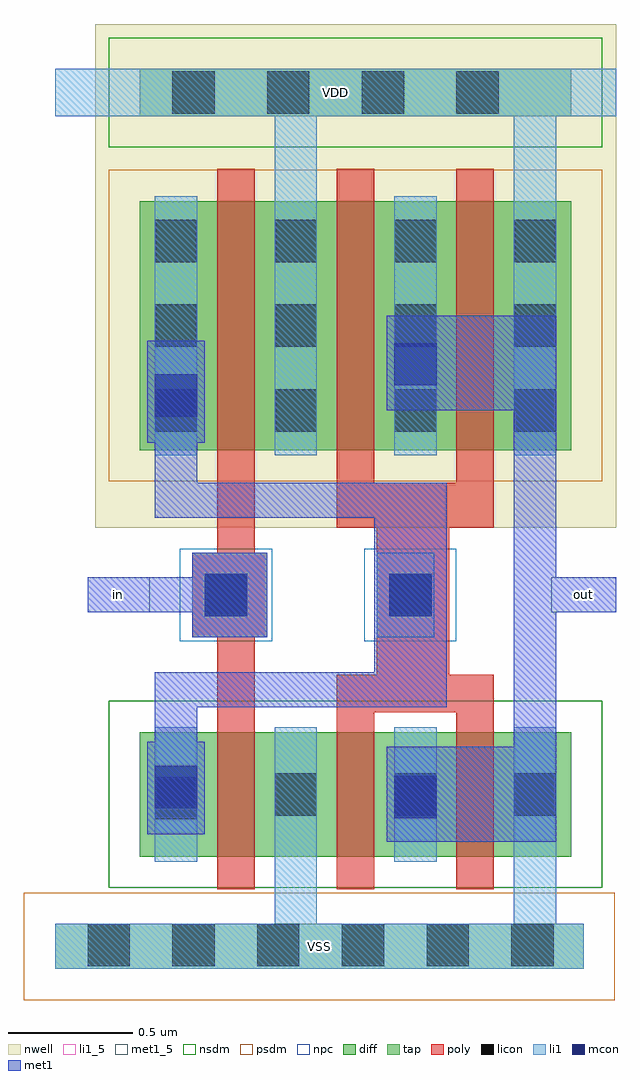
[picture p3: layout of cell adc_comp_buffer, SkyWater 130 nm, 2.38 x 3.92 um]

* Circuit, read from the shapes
.subckt adc_comp_buffer VDD VSS in out
XM1 VSS in n1 VSS sky130_fd_pr__nfet_01v8 w=0.5 l=0.15
XM2 out n1 VSS VSS sky130_fd_pr__nfet_01v8 w=0.5 l=0.15 m=2
XM3 VDD in n1 VDD sky130_fd_pr__pfet_01v8 w=1 l=0.15
XM4 out n1 VDD VDD sky130_fd_pr__pfet_01v8 w=1 l=0.15 m=2
.ends

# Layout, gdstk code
import gdstk
lib = gdstk.Library(unit=1e-6, precision=1e-09)
def R(c, l, rs):  # rectangles x0, y0, x1, y1
    for r in rs: c.add(gdstk.rectangle(r[:2], r[2:], *l))
def A(c, l, x, y, w, h, nx, ny, dx, dy):  # array of equal rectangles
    R(c, l, [(x+i*dx, y+j*dy, x+i*dx+w, y+j*dy+h) for i in range(nx) for j in range(ny)])
nwell = (64, 20)
diff = (65, 20)
tap = (65, 44)
poly = (66, 20)
licon = (66, 44)
li1_5 = (67, 5)
li1 = (67, 20)
mcon = (67, 44)
met1_5 = (68, 5)
met1 = (68, 20)
nsdm = (93, 44)
psdm = (94, 20)
npc = (95, 20)

adc_comp_buffer = lib.new_cell('adc_comp_buffer')
R(adc_comp_buffer, nwell, [(-0.05,0.24,2.04,2.26)])
R(adc_comp_buffer, diff, [(0.13,-1.08,1.86,-0.58), (0.13,0.55,1.86,1.55)])
R(adc_comp_buffer, tap, [(-0.21,-1.53,1.91,-1.35), (0.13,1.89,1.86,2.08)])
R(adc_comp_buffer, poly, [(0.44,-1.21,0.59,-0.2), (0.92,-1.21,1.07,-0.5), (1.4,-1.21,1.55,-0.5), (0.92,-0.5,1.55,-0.35), (1.08,-0.35,1.37,0.24), (0.34,-0.2,0.64,0.14), (0.44,0.14,0.59,1.68), (0.92,0.24,1.55,0.42), (0.92,0.42,1.07,1.68), (1.4,0.42,1.55,1.68)])
A(adc_comp_buffer, licon, -0.08, -1.52, 0.17, 0.17, 6, 1, 0.34, 0)
A(adc_comp_buffer, licon, 0.67, -0.915, 0.17, 0.17, 3, 1, 0.48, 0)
A(adc_comp_buffer, licon, 0.19, 0.625, 0.17, 0.17, 4, 3, 0.48, 0.34)
A(adc_comp_buffer, licon, 0.26, 1.9, 0.17, 0.17, 4, 1, 0.38, 0)
R(adc_comp_buffer, licon, [(0.19,-0.93,0.36,-0.76), (0.39,-0.115,0.56,0.055), (1.13,-0.115,1.3,0.055)])
R(adc_comp_buffer, li1_5, [(-0.21,-1.53,1.91,-1.35), (-0.21,1.89,2.04,2.08)])
R(adc_comp_buffer, li1, [(-0.21,-1.53,1.91,-1.35), (0.67,-1.35,0.84,-0.56), (1.63,-1.35,1.8,-0.56), (0.19,-1.1,0.36,-0.56), (1.15,-1.1,1.32,-0.56), (0.34,-0.2,0.64,0.14), (1.08,-0.2,1.31,0.14), (0.19,0.53,0.36,1.57), (0.67,0.53,0.84,1.89), (1.15,0.53,1.32,1.57), (1.63,0.53,1.8,1.89), (-0.21,1.89,2.04,2.08)])
R(adc_comp_buffer, mcon, [(1.15,-0.925,1.32,-0.755), (0.19,-0.885,0.36,-0.715), (0.39,-0.115,0.56,0.055), (1.13,-0.115,1.3,0.055), (0.19,0.685,0.36,0.855), (1.15,0.81,1.32,0.98)])
R(adc_comp_buffer, met1_5, [(-0.08,-0.1,0.17,0.04), (1.78,-0.1,2.04,0.04)])
R(adc_comp_buffer, met1, [(1.12,-1.02,1.8,-0.64), (0.16,-0.99,0.39,-0.62), (1.63,-0.64,1.8,-0.1), (0.19,-0.62,0.36,-0.48), (0.19,-0.48,1.36,-0.34), (1.07,-0.34,1.36,0.28), (0.34,-0.2,0.64,-0.1), (-0.08,-0.1,0.64,0.04), (1.63,-0.1,2.04,0.04), (0.34,0.04,0.64,0.14), (1.63,0.04,1.8,0.71), (0.19,0.28,1.36,0.42), (0.19,0.42,0.36,0.58), (0.16,0.58,0.39,0.99), (1.12,0.71,1.8,1.09)])
R(adc_comp_buffer, nsdm, [(0.005,-1.205,1.985,-0.455), (0.005,1.765,1.985,2.205)])
R(adc_comp_buffer, psdm, [(-0.335,-1.655,2.035,-1.225), (0.005,0.425,1.985,1.675)])
R(adc_comp_buffer, npc, [(0.29,-0.215,0.66,0.155), (1.03,-0.215,1.4,0.155)])
adc_comp_buffer.add(gdstk.Label('out', (1.91,-0.03), layer=68, texttype=5))
adc_comp_buffer.add(gdstk.Label('in', (0.045,-0.03), layer=68, texttype=5))
adc_comp_buffer.add(gdstk.Label('VSS', (0.85,-1.44), layer=67, texttype=5))
adc_comp_buffer.add(gdstk.Label('VDD', (0.915,1.985), layer=67, texttype=5))

lib.write_gds('adc_comp_buffer.gds')
